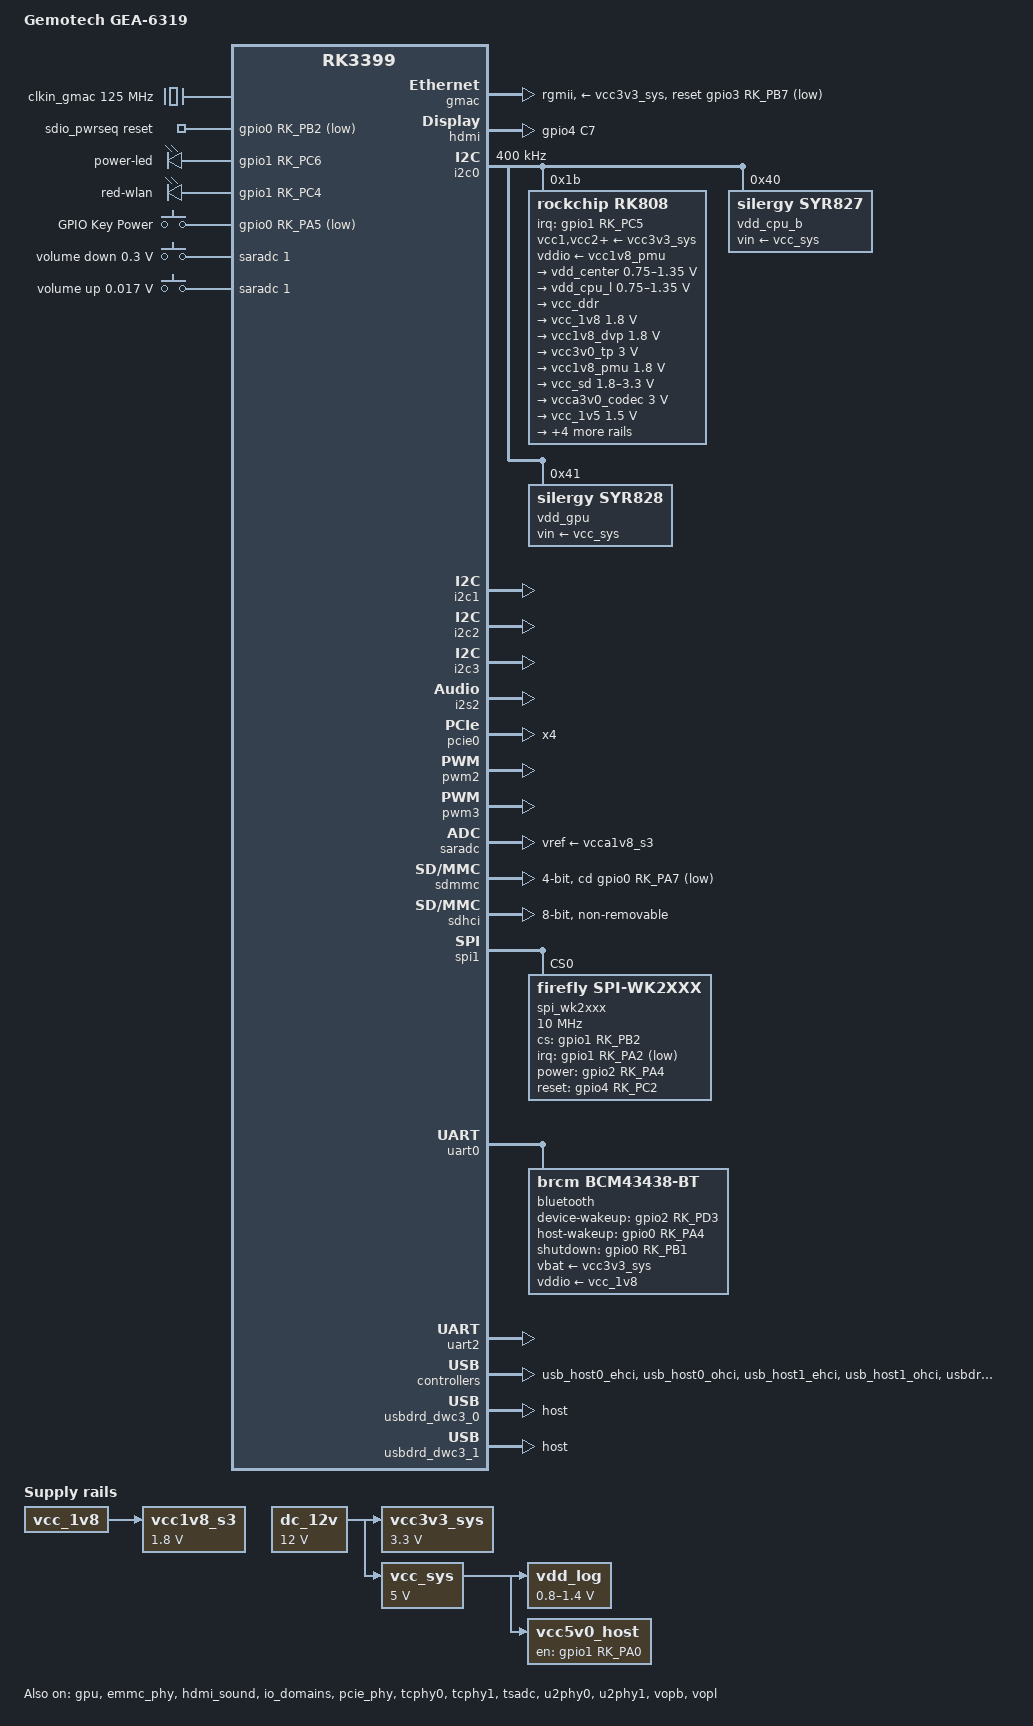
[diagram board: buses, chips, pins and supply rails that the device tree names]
// SPDX-License-Identifier: (GPL-2.0+ OR MIT)

/dts-v1/;
#include <dt-bindings/input/linux-event-codes.h>
#include <dt-bindings/pwm/pwm.h>
#include <dt-bindings/input/input.h>
#include <dt-bindings/gpio/gpio.h>
#include <dt-bindings/pinctrl/rockchip.h>
#include "rk3399.dtsi"

/ {
	model = "Gemotech GEA-6319";
	compatible = "gemotech,gea-6319", "rockchip,rk3399";

	aliases {
		mmc1 = &sdmmc;
		mmc2 = &sdhci;
	};

	chosen {
		stdout-path = "serial2:1500000n8";
	};

	clkin_gmac: external-gmac-clock {
		compatible = "fixed-clock";
		clock-frequency = <125000000>;
		clock-output-names = "clkin_gmac";
		#clock-cells = <0>;
	};

	dc_12v: dc-12v {
		compatible = "regulator-fixed";
		regulator-name = "dc_12v";
		regulator-always-on;
		regulator-boot-on;
		regulator-min-microvolt = <12000000>;
		regulator-max-microvolt = <12000000>;
	};

	sdio_pwrseq: sdio-pwrseq {
		compatible = "mmc-pwrseq-simple";
		clocks = <&rk808 1>;
		clock-names = "ext_clock";
		pinctrl-names = "default";
		pinctrl-0 = <&wifi_reg_on_h>;
		reset-gpios = <&gpio0 RK_PB2 GPIO_ACTIVE_LOW>; // bsp
	};

	/* switched by pmic_sleep */
	vcc1v8_s3: vcca1v8_s3: vcc1v8-s3 {
		compatible = "regulator-fixed";
		regulator-name = "vcc1v8_s3";
		regulator-always-on;
		regulator-boot-on;
		regulator-min-microvolt = <1800000>;
		regulator-max-microvolt = <1800000>;
		vin-supply = <&vcc_1v8>;
	};

	vcc3v3_sys: vcc3v3_pcie: vcc3v3_bl: vcc3v3-sys { // sch
		compatible = "regulator-fixed";
		regulator-name = "vcc3v3_sys";
		regulator-always-on;
		regulator-boot-on;
		regulator-min-microvolt = <3300000>;
		regulator-max-microvolt = <3300000>;
		vin-supply = <&dc_12v>;
	};

	vcc_sys: vcc-sys {
		compatible = "regulator-fixed";
		regulator-name = "vcc_sys";
		regulator-always-on;
		regulator-boot-on;
		regulator-min-microvolt = <5000000>;
		regulator-max-microvolt = <5000000>;
		vin-supply = <&dc_12v>;
	};

	vdd_log: vdd-log {
		compatible = "pwm-regulator";
		pwms = <&pwm2 0 25000 1>;
		regulator-name = "vdd_log";
		regulator-always-on;
		regulator-boot-on;
		regulator-min-microvolt = <800000>;
		regulator-max-microvolt = <1400000>;
		vin-supply = <&vcc_sys>;
	};

	vcc5v0_host: vcc5v0-host-regulator {
		compatible = "regulator-fixed";
		enable-active-high;
		gpio = <&gpio1 RK_PA0 GPIO_ACTIVE_HIGH>;
		pinctrl-names = "default";
		pinctrl-0 = <&vcc5v0_host_en>;
		regulator-name = "vcc5v0_host";
		regulator-always-on;
		vin-supply = <&vcc_sys>;
	};

	leds: gpio-leds {
		compatible = "gpio-leds";
		pinctrl-names = "default";

		power-led {
			label = "power-led";
			default-state = "on";
			gpios = <&gpio1 RK_PC6 GPIO_ACTIVE_HIGH>;
			linux,default-trigger = "ir-power-click";
			pinctrl-0 = <&power_pin>;
			pinctrl-names = "default";
		};

		wifi-led {
			label = "red-wlan";
			default-state = "on";
			gpios = <&gpio1 RK_PC4 GPIO_ACTIVE_HIGH>;
			linux,default-trigger = "ir-wifi-click";
			pinctrl-0 = <&wlan_led_pin>;
			pinctrl-names = "default";
		};
	};

	gpio-keys {
		compatible = "gpio-keys";
		autorepeat;
		pinctrl-names = "default";
		pinctrl-0 = <&power_key>;

		power {
			debounce-interval = <100>;
			gpios = <&gpio0 RK_PA5 GPIO_ACTIVE_LOW>; // bsp
			label = "GPIO Key Power";
			linux,code = <KEY_POWER>;
			wakeup-source;
		};
	};

	adc-keys {
		compatible = "adc-keys";
		io-channels = <&saradc 1>;
		io-channel-names = "buttons";
		keyup-threshold-microvolt = <1800000>;
		poll-interval = <100>;

		button-down {
			label = "volume down";
			linux,code = <KEY_VOLUMEDOWN>;
			press-threshold-microvolt = <300000>;
		};

		button-up {
			label = "volume up";
			linux,code = <KEY_VOLUMEUP>;
			press-threshold-microvolt = <17000>;
		};
	};
};

&cpu_l0 {
	cpu-supply = <&vdd_cpu_l>;
};

&cpu_l1 {
	cpu-supply = <&vdd_cpu_l>;
};

&cpu_l2 {
	cpu-supply = <&vdd_cpu_l>;
};

&cpu_l3 {
	cpu-supply = <&vdd_cpu_l>;
};

&cpu_b0 {
	cpu-supply = <&vdd_cpu_b>;
};

&cpu_b1 {
	cpu-supply = <&vdd_cpu_b>;
};

&gpu {
	mali-supply = <&vdd_gpu>;
	status = "okay";
};

&emmc_phy {
	status = "okay";
};

&gmac {
	assigned-clocks = <&cru SCLK_RMII_SRC>;
	assigned-clock-parents = <&clkin_gmac>;
	clock_in_out = "input";
	phy-supply = <&vcc3v3_sys>;
	phy-mode = "rgmii";
	pinctrl-names = "default";
	pinctrl-0 = <&rgmii_pins>;
	snps,reset-gpio = <&gpio3 RK_PB7 GPIO_ACTIVE_LOW>; // bsp
	snps,reset-active-low;
	snps,reset-delays-us = <0 10000 50000>;
	tx_delay = <0x25>; //bsp 0x28
	rx_delay = <0x08>; //bsp 0x11
	status = "okay";
};

&hdmi {
	ddc-i2c-bus = <&i2c3>;
	pinctrl-names = "default";
	pinctrl-0 = <&hdmi_cec>;
	status = "okay";
};

&hdmi_sound {
	status = "okay";
};

&i2c0 {
	clock-frequency = <400000>;
	i2c-scl-rising-time-ns = <168>;
	i2c-scl-falling-time-ns = <4>;
	status = "okay";

	rk808: pmic@1b {
		compatible = "rockchip,rk808";
		reg = <0x1b>;
		interrupt-parent = <&gpio1>;
		interrupts = <RK_PC5 IRQ_TYPE_LEVEL_LOW>;
		#clock-cells = <1>;
		clock-output-names = "xin32k", "rk808-clkout2";
		pinctrl-names = "default";
		pinctrl-0 = <&pmic_int_l &pmic_dvs2>;
		rockchip,system-power-controller;
		wakeup-source;

		vcc1-supply = <&vcc3v3_sys>;
		vcc2-supply = <&vcc3v3_sys>;
		vcc3-supply = <&vcc3v3_sys>;
		vcc4-supply = <&vcc3v3_sys>;
		vcc6-supply = <&vcc3v3_sys>;
		vcc7-supply = <&vcc3v3_sys>;
		vcc8-supply = <&vcc3v3_sys>;
		vcc9-supply = <&vcc3v3_sys>;
		vcc10-supply = <&vcc3v3_sys>;
		vcc11-supply = <&vcc3v3_sys>;
		vcc12-supply = <&vcc3v3_sys>;
		vddio-supply = <&vcc1v8_pmu>;

		regulators {
			vdd_center: DCDC_REG1 {
				regulator-name = "vdd_center";
				regulator-always-on;
				regulator-boot-on;
				regulator-min-microvolt = <750000>;
				regulator-max-microvolt = <1350000>;
				regulator-ramp-delay = <6001>;
				regulator-state-mem {
					regulator-off-in-suspend;
				};
			};

			vdd_cpu_l: DCDC_REG2 {
				regulator-name = "vdd_cpu_l";
				regulator-always-on;
				regulator-boot-on;
				regulator-min-microvolt = <750000>;
				regulator-max-microvolt = <1350000>;
				regulator-ramp-delay = <6001>;
				regulator-state-mem {
					regulator-off-in-suspend;
				};
			};

			vcc_ddr: DCDC_REG3 {
				regulator-name = "vcc_ddr";
				regulator-always-on;
				regulator-boot-on;
				regulator-state-mem {
					regulator-on-in-suspend;
				};
			};

			vcc_1v8: DCDC_REG4 {
				regulator-name = "vcc_1v8";
				regulator-always-on;
				regulator-boot-on;
				regulator-min-microvolt = <1800000>;
				regulator-max-microvolt = <1800000>;
				regulator-state-mem {
					regulator-on-in-suspend;
					regulator-suspend-microvolt = <1800000>;
				};
			};

			vcc1v8_dvp: LDO_REG1 {
				regulator-name = "vcc1v8_dvp";
				regulator-always-on;
				regulator-boot-on;
				regulator-min-microvolt = <1800000>;
				regulator-max-microvolt = <1800000>;
				regulator-state-mem {
					regulator-off-in-suspend;
				};
			};

			vcc3v0_tp: LDO_REG2 {
				regulator-always-on;
				regulator-boot-on;
				regulator-min-microvolt = <3000000>;
				regulator-max-microvolt = <3000000>;
				regulator-name = "vcc3v0_tp";
				regulator-state-mem {
					regulator-off-in-suspend;
				};
			};

			vcc1v8_pmu: LDO_REG3 {
				regulator-name = "vcc1v8_pmu";
				regulator-always-on;
				regulator-boot-on;
				regulator-min-microvolt = <1800000>;
				regulator-max-microvolt = <1800000>;
				regulator-state-mem {
					regulator-on-in-suspend;
					regulator-suspend-microvolt = <1800000>;
				};
			};

			vcc_sd: LDO_REG4 {
				regulator-name = "vcc_sd";
				regulator-always-on;
				regulator-boot-on;
				regulator-min-microvolt = <1800000>;
				regulator-max-microvolt = <3300000>;
				regulator-state-mem {
					regulator-on-in-suspend;
					regulator-suspend-microvolt = <3300000>;
				};
			};

			vcca3v0_codec: LDO_REG5 {
				regulator-name = "vcca3v0_codec";
				regulator-always-on;
				regulator-boot-on;
				regulator-min-microvolt = <3000000>;
				regulator-max-microvolt = <3000000>;
				regulator-state-mem {
					regulator-off-in-suspend;
				};
			};

			vcc_1v5: LDO_REG6 {
				regulator-name = "vcc_1v5";
				regulator-always-on;
				regulator-boot-on;
				regulator-min-microvolt = <1500000>;
				regulator-max-microvolt = <1500000>;
				regulator-state-mem {
					regulator-on-in-suspend;
					regulator-suspend-microvolt = <1500000>;
				};
			};

			vcca1v8_codec: LDO_REG7 {
				regulator-name = "vcca1v8_codec";
				regulator-always-on;
				regulator-boot-on;
				regulator-min-microvolt = <1800000>;
				regulator-max-microvolt = <1800000>;
				regulator-state-mem {
					regulator-off-in-suspend;
				};
			};

			vcc_3v0: LDO_REG8 {
				regulator-name = "vcc_3v0";
				regulator-always-on;
				regulator-boot-on;
				regulator-min-microvolt = <3000000>;
				regulator-max-microvolt = <3000000>;
				regulator-state-mem {
					regulator-on-in-suspend;
					regulator-suspend-microvolt = <3000000>;
				};
			};

			vcc3v3_s3: SWITCH_REG1 {
				regulator-name = "vcc3v3_s3";
				regulator-always-on;
				regulator-boot-on;
				regulator-state-mem {
					regulator-off-in-suspend;
				};
			};

			vcc3v3_s0: SWITCH_REG2 {
				regulator-name = "vcc3v3_s0";
				regulator-always-on;
				regulator-boot-on;
				regulator-state-mem {
					regulator-off-in-suspend;
				};
			};
		};
	};

	vdd_cpu_b: regulator@40 {
		compatible = "silergy,syr827";
		reg = <0x40>;
		fcs,suspend-voltage-selector = <1>;
		pinctrl-names = "default";
		pinctrl-0 = <&cpu_b_sleep>;
		regulator-name = "vdd_cpu_b";
		regulator-min-microvolt = <712500>;
		regulator-max-microvolt = <1500000>;
		regulator-ramp-delay = <1000>;
		regulator-always-on;
		regulator-boot-on;
		vin-supply = <&vcc_sys>;

		regulator-state-mem {
			regulator-off-in-suspend;
		};
	};

	vdd_gpu: regulator@41 {
		compatible = "silergy,syr828";
		reg = <0x41>;
		fcs,suspend-voltage-selector = <1>;
		pinctrl-names = "default";
		pinctrl-0 = <&gpu_sleep>;
		regulator-name = "vdd_gpu";
		regulator-min-microvolt = <712500>;
		regulator-max-microvolt = <1500000>;
		regulator-ramp-delay = <1000>;
		regulator-always-on;
		regulator-boot-on;
		vin-supply = <&vcc_sys>;

		regulator-state-mem {
			regulator-off-in-suspend;
		};
	};
};

&i2c1 {
	status = "okay";
};

&i2c2 {
	status = "okay";
};

// Used for HDMI
&i2c3 {
	i2c-scl-rising-time-ns = <450>;
	i2c-scl-falling-time-ns = <15>;
	status = "okay";
};

// HDMI sound
&i2s2 {
	#sound-dai-cells = <0>;
	status = "okay";
};

&io_domains {
	status = "okay";

	bt656-supply = <&vcc_3v0>;
	audio-supply = <&vcca1v8_codec>;
	sdmmc-supply = <&vcc_sd>;
	gpio1830-supply = <&vcc_3v0>;
};

&pmu_io_domains {
	status = "okay";
	pmu1830-supply = <&vcc_1v8>;
};

&pcie_phy {
	status = "okay";
};

&pcie0 {
	ep-gpios = <&gpio4 RK_PD4 GPIO_ACTIVE_HIGH>;
	max-link-speed = <1>;
	num-lanes = <4>;
	pinctrl-names = "default";
	pinctrl-0 = <&pcie_clkreqn_cpm>;
	status = "okay";
};

&pinctrl {
	pmic {
		cpu_b_sleep: cpu-b-sleep {
			rockchip,pins = <1 RK_PC1 RK_FUNC_GPIO &pcfg_pull_down>;
		};

		gpu_sleep: gpu-sleep {
			rockchip,pins = <1 RK_PB6 RK_FUNC_GPIO &pcfg_pull_down>;
		};

		pmic_int_l: pmic-int-l {
			rockchip,pins = <1 RK_PB2 RK_FUNC_GPIO &pcfg_pull_up>;
		};

		pmic_dvs2: pmic-dvs2 {
			rockchip,pins = <1 RK_PC2 RK_FUNC_GPIO &pcfg_pull_down>; // bsp
		};
	};

	sdio-pwrseq {
		wifi_reg_on_h: wifi-reg-on-h {
			rockchip,pins = <0 RK_PB2 RK_FUNC_GPIO &pcfg_pull_none>;
		};
	};

	wifi {
		wifi_host_wake_l: wifi-host-wake-l {
			rockchip,pins = <0 RK_PA3 RK_FUNC_GPIO &pcfg_pull_none>;
		};
	};

    	spi1 {
        	spi1_clk: spi1-clk {
            		rockchip,pins = <1 RK_PB1 2 &pcfg_pull_up>;
       		};
        	spi1_tx: spi1-tx {
            		rockchip,pins = <1 RK_PB2 2 &pcfg_pull_up>;
        	};
        	spi1_rx: spi1-rx {
            		rockchip,pins = <1 RK_PA7 2 &pcfg_pull_up>;
        	};
        	spi1_cs0: spi1-cs0 {
            		rockchip,pins = <1 RK_PB0 2 &pcfg_pull_up>;
        	};
    	};

	spi2 {
		spi2_cs0: spi2-cs0 {
			rockchip,pins =<2 RK_PB4 2 &pcfg_pull_up>;
		};
	};

	pcie {

		pci_clkreqn_cpm: pci-clkreqn-cpm {
			rockchip,pins = <2 RK_PD2 RK_FUNC_GPIO &pcfg_pull_none>;
		};

		pci_clkreqnb_cpm: pci-clkreqnb-cpm {
			rockchip,pins = <4 RK_PD0 RK_FUNC_GPIO &pcfg_pull_none>;
		};

		pcie_drv: pcie-drv {
			rockchip,pins = <1 RK_PD0 RK_FUNC_GPIO &pcfg_pull_none>;
		};
	};

	bt {
		bt_enable_h: bt-enable-h {
			rockchip,pins = <0 RK_PB1 RK_FUNC_GPIO &pcfg_pull_none>;
		};

		bt_host_wake_l: bt-host-wake-l {
			rockchip,pins = <0 RK_PA4 RK_FUNC_GPIO &pcfg_pull_down>;
		};

		bt_wake_l: bt-wake-l {
			rockchip,pins = <2 RK_PD3 RK_FUNC_GPIO &pcfg_pull_none>;
		};
	};

	hdmi {

		hdmi_i2c_xfer: hdmi-i2c-xfer {
			rockchip,pins = <4 RK_PC1 RK_FUNC_GPIO &pcfg_pull_none>;
			rockchip,pins = <4 RK_PC0 RK_FUNC_GPIO &pcfg_pull_none>;
		};

		hdmi_cec: hdmi-cec {
			rockchip,pins = <4 RK_PC7 RK_FUNC_GPIO &pcfg_pull_none>;
		};
	};

	usb2 {

		vcc5v0_host_en: vcc5v0-host-en {
			rockchip,pins = <1 RK_PA0 RK_FUNC_GPIO &pcfg_pull_none>;
		};
	};

	leds {

		power_pin: power-pin {
			rockchip,pins = <1 RK_PC6 RK_FUNC_GPIO &pcfg_pull_none>;
		};

		wlan_led_pin: wlan-led-pin {
			rockchip,pins = <1 RK_PC4 RK_FUNC_GPIO &pcfg_pull_none>;
		};
	};

	buttons {

		power_key: power-key {
			rockchip,pins = <0 RK_PA5 RK_FUNC_GPIO &pcfg_pull_up>;
		};
	};
};

&pwm2 {
	status = "okay";
};

&pwm3 {
	status = "okay";
};

&saradc {
	vref-supply = <&vcca1v8_s3>;
	status = "okay";
};

&sdmmc {
	bus-width = <4>;
	cap-sd-highspeed;
	cd-gpios = <&gpio0 RK_PA7 GPIO_ACTIVE_LOW>; // bsp
	clock-frequency = <150000000>;
	disable-wp;
	sd-uhs-sdr104;
	max-frequency = <150000000>;
	pinctrl-names = "default";
	pinctrl-0 = <&sdmmc_clk &sdmmc_cmd &sdmmc_cd &sdmmc_bus4>;
	vqmmc-supply = <&vcc_sd>;
	status = "okay";
};

&sdhci {
	bus-width = <8>;
	mmc-hs400-1_8v;
	mmc-hs400-enhanced-strobe;
	keep-power-in-suspend;
	non-removable;
	status = "okay";
};

&spi1 {
	status = "okay";

	spi_wk2xxx: spi-wk2xxx@0 {
		compatible = "firefly,spi-wk2xxx";
		cs-gpio = <&gpio1 RK_PB2 GPIO_ACTIVE_HIGH>;
		irq-gpio = <&gpio1 RK_PA2 GPIO_ACTIVE_LOW>;
		power-gpio = <&gpio2 RK_PA4 GPIO_ACTIVE_HIGH>;
		reg = <0>;
		reset-gpio = <&gpio4 RK_PC2 GPIO_ACTIVE_HIGH>;
		spi-max-frequency = <10000000>;
		status = "okay";
	};
};

&tcphy0 {
	status = "okay";
};

&tcphy1 {
	status = "okay";
};

&tsadc {
	/* tshut mode 0:CRU 1:GPIO */
	rockchip,hw-tshut-mode = <1>;
	/* tshut polarity 0:LOW 1:HIGH */
	rockchip,hw-tshut-polarity = <1>;
	status = "okay";
};

&u2phy0 {
	status = "okay";

	u2phy0_otg: otg-port {
		status = "okay";
	};

	u2phy0_host: host-port {
		status = "okay";
	};
};

&u2phy1 {
	status = "okay";

	u2phy1_otg: otg-port {
		status = "okay";
	};

	u2phy1_host: host-port {
		status = "okay";
	};
};

&uart0 {
	pinctrl-names = "default";
	pinctrl-0 = <&uart0_xfer &uart0_cts &uart0_rts>;
	status = "okay";

	bluetooth {
		compatible = "brcm,bcm43438-bt";
		clocks = <&rk808 1>;
		clock-names = "lpo";
		device-wakeup-gpios = <&gpio2 RK_PD3 GPIO_ACTIVE_HIGH>;
		host-wakeup-gpios = <&gpio0 RK_PA4 GPIO_ACTIVE_HIGH>;
		shutdown-gpios = <&gpio0 RK_PB1 GPIO_ACTIVE_HIGH>;
		max-speed = <4000000>;
		pinctrl-names = "default";
		pinctrl-0 = <&bt_host_wake_l &bt_wake_l &bt_enable_h>;
		vbat-supply = <&vcc3v3_sys>;
		vddio-supply = <&vcc_1v8>;
	};
};

// Debug TTL
&uart2 {
	status = "okay";
};

&usb_host0_ehci {
	status = "okay";
};

&usb_host0_ohci {
	status = "okay";
};

&usb_host1_ehci {
	status = "okay";
};

&usb_host1_ohci {
	status = "okay";
};

&usbdrd3_0 {
	status = "okay";
};

&usbdrd_dwc3_0 {
	status = "okay";
	dr_mode = "host";
};

&usbdrd3_1 {
	status = "okay";
};

&usbdrd_dwc3_1 {
	status = "okay";
	dr_mode = "host";
};

&vopb {
	status = "okay";
};

&vopb_mmu {
	status = "okay";
};

&vopl {
	status = "okay";
};

&vopl_mmu {
	status = "okay";
};

&iep_mmu {
	status = "okay";
};
